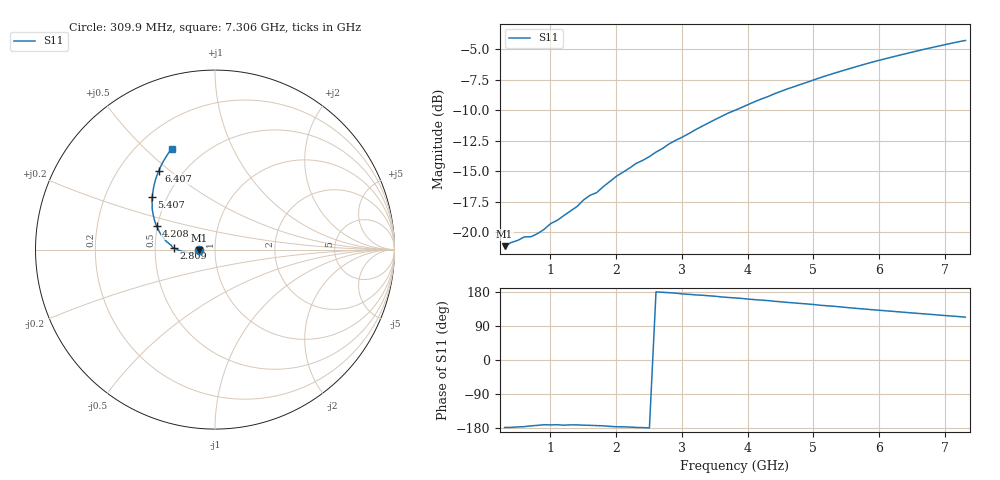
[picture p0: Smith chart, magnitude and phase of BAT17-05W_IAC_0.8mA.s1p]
! Infineon Technologies  Discrete & RF Semiconductors
! BAT17-05W
! IAC = 0.8 mA
! One-Port S-Parameters
# Hz  S  MA  R  50
!f  S11
!Hz  Mag  Ang
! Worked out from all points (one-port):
!   71 points, 309.9 MHz to 7.306 GHz, reference 50 ohm
!   lowest |S11| = -21.2 dB at 309.9 MHz (marker M1), VSWR 1.19, Z = 42 - j0.252 ohm
!   |S11| at or under -10 dB: start of sweep to 3.813 GHz
!   S11 on the Smith chart (normalised r, x): 309.9 MHz: 0.84, -0.01; 2.809 GHz: 0.63, +0.01; 4.208 GHz: 0.49, +0.15; 5.407 GHz: 0.41, +0.31; 6.407 GHz: 0.37, +0.46; 7.306 GHz: 0.34, +0.61
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3.0985e8  0.08754 -178.1
6.097e8  0.09555 -175.8
7.0965e8  0.09569 -173.7
8.096e8  0.09855 -172.5
1.0095e9  0.1083 -171.3
1.2094e9  0.1169 -172.0
1.4093e9  0.1273 -171.2
1.50925e9  0.1355 -172.0
1.6092e9  0.1416 -172.4
1.70915e9  0.1453 -173.1
2.009e9  0.1695 -176.2
2.10895e9  0.1761 -176.3
2.30885e9  0.1913 -178.0
2.50875e9  0.204 -179.2
2.8086e9  0.2301 177.6
3.0085e9  0.2453 174.3
3.30835e9  0.2717 170.9
3.8081e9  0.3158 163.8
4.2079e9  0.3513 158.0
4.70765e9  0.3951 150.7
5.0075e9  0.4212 146.3
5.4073e9  0.4561 140.2
5.6072e9  0.4733 136.9
6.007e9  0.5072 131.1
6.4068e9  0.5395 125.5
6.50675e9  0.5477 124.1
6.8066e9  0.572 120.0
7.30635e9  0.6108 113.1
